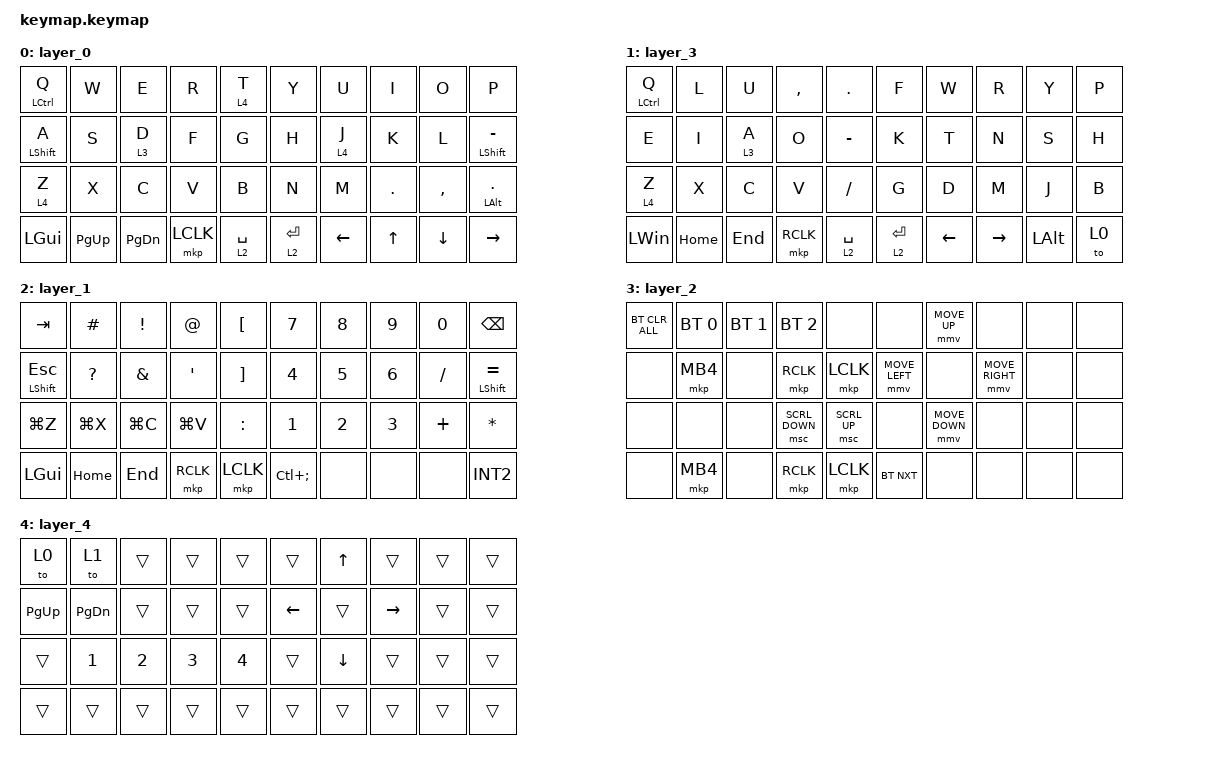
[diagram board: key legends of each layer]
#include <behaviors.dtsi>
#include <dt-bindings/zmk/bt.h>
#include <dt-bindings/zmk/keys.h>
#include <dt-bindings/zmk/pointing.h>

/ {
    keymap {
        compatible = "zmk,keymap";

        layer_0 {
            bindings = <
&mt LCTRL Q       &kp W        &kp E          &kp R      &lt 4 T      &kp Y        &kp U     &kp I         &kp O      &kp P
&mt LEFT_SHIFT A  &kp S        &lt 3 D        &kp F      &kp G        &kp H        &lt 4 J   &kp K         &kp L      &mt LEFT_SHIFT MINUS
&lt 4 Z           &kp X        &kp C          &kp V      &kp B        &kp N        &kp M     &kp DOT       &kp COMMA  &mt LEFT_ALT DOT
&kp LGUI          &kp PAGE_UP  &kp PAGE_DOWN  &mkp LCLK  &lt 2 SPACE  &lt 2 ENTER  &kp LEFT  &kp UP_ARROW  &kp DOWN   &kp RIGHT
            >;
        };

        layer_3 {
            bindings = <
&mt LCTRL Q   &kp L     &kp U    &kp COMMA  &kp PERIOD   &kp F        &kp W     &kp R      &kp Y         &kp P
&kp E         &kp I     &lt 3 A  &kp O      &kp MINUS    &kp K        &kp T     &kp N      &kp S         &kp H
&lt 4 Z       &kp X     &kp C    &kp V      &kp SLASH    &kp G        &kp D     &kp M      &kp J         &kp B
&kp LEFT_WIN  &kp HOME  &kp END  &mkp RCLK  &lt 2 SPACE  &lt 2 ENTER  &kp LEFT  &kp RIGHT  &kp LEFT_ALT  &to 0
            >;
        };

        layer_1 {
            bindings = <
&kp TAB                &kp HASH      &kp EXCL       &kp AT     &kp LBKT   &kp N7             &kp N8  &kp N9  &kp N0     &kp BACKSPACE
&mt LEFT_SHIFT ESCAPE  &kp QUESTION  &kp AMPERSAND  &kp APOS   &kp RBKT   &kp N4             &kp N5  &kp N6  &kp SLASH  &mt LEFT_SHIFT EQUAL
&kp LG(Z)              &kp LG(X)     &kp LG(C)      &kp LG(V)  &kp COLON  &kp N1             &kp N2  &kp N3  &kp PLUS   &kp ASTRK
&kp LEFT_GUI           &kp HOME      &kp END        &mkp RCLK  &mkp LCLK  &kp LC(SEMICOLON)  &none   &none   &none      &kp INT2
            >;
        };

        layer_2 {
            bindings = <
&bt BT_CLR_ALL  &bt BT_SEL 0  &bt BT_SEL 1  &bt BT_SEL 2    &none         &none           &mmv MOVE_UP    &none            &none  &none
&none           &mkp MB4      &none         &mkp RCLK       &mkp LCLK     &mmv MOVE_LEFT  &none           &mmv MOVE_RIGHT  &none  &none
&none           &none         &none         &msc SCRL_DOWN  &msc SCRL_UP  &none           &mmv MOVE_DOWN  &none            &none  &none
&none           &mkp MB4      &none         &mkp RCLK       &mkp LCLK     &bt BT_NXT      &none           &none            &none  &none
            >;
        };

        layer_4 {
            bindings = <
&to 0        &to 1          &trans        &trans        &trans        &trans    &kp UP_ARROW  &trans     &trans  &trans
&kp PAGE_UP  &kp PAGE_DOWN  &trans        &trans        &trans        &kp LEFT  &trans        &kp RIGHT  &trans  &trans
&trans       &kp NUMBER_1   &kp NUMBER_2  &kp NUMBER_3  &kp NUMBER_4  &trans    &kp DOWN      &trans     &trans  &trans
&trans       &trans         &trans        &trans        &trans        &trans    &trans        &trans     &trans  &trans
            >;
        };
    };
};
